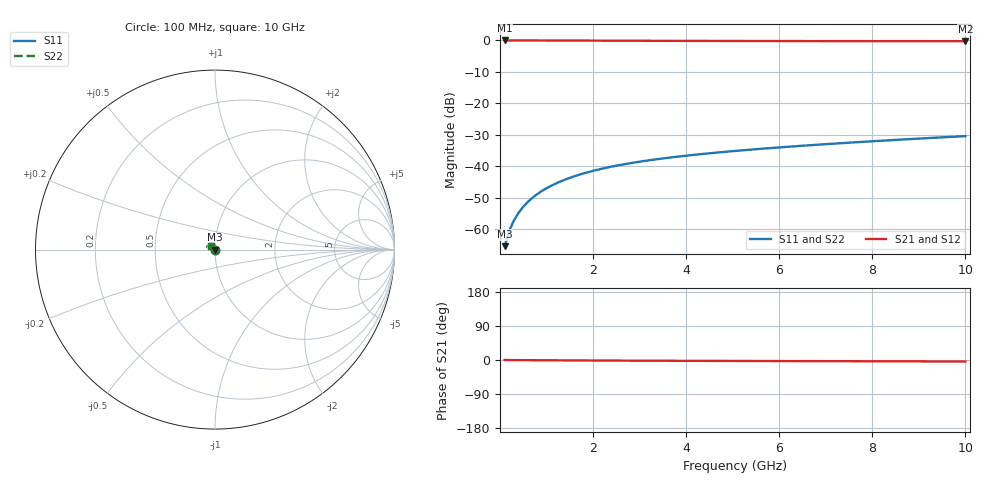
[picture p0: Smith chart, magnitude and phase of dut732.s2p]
! Touchstone file exported from HFSS 2024.1.0
!  File:  C:/UserFiles/LocalFiles/RDL_TSV_Batchsim/temp_TSV1_732_1779869418.aedt
!  Generated:  04:17:29 PM May 27, 2026
!  Design:  TSV1
!  Project:  temp_TSV1_732_1779869418
!  Setup:  Setup1
!  Solution:  Sweep
! Variables:
!  dtsv = 6.09um
!  hbump = 3um
!  htsv = 53.31um
!  lrdl = 252.1521522um
!  p = 40
!  p1 = 53.52um
!  t = 500um
!  trdl = 3um
!  wrdl = 24.89489489um
# GHz S MA R 50.000000
! Terminal data exported
! Port[1] = TSV22_T1
! Port[2] = TSV22_T2
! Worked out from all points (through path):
!   100 points, 100 MHz to 10 GHz, reference 50 ohm
!   highest |S21| = 0.00 dB at 100 MHz (marker M1); lowest = -0.2 dB at 10 GHz (marker M2)
!   lowest |S11| = -65.3 dB at 100 MHz (marker M3), VSWR 1.00, Z = 50 - j0.0464 ohm
!   |S11| at or under -10 dB: start of sweep to end of sweep
!   |S22| runs from -65.3 to -30.4 dB; largest |S21 - S12| = 8.2e-15
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0.1  0.000541 -58.9  0.9997 -0.1  0.9997 -0.1  0.000541 -58.9
! Gamma 0 0 0 0
! Port Impedance 50 0 50 0
0.2  0.0009495 -77.0  0.9996 -0.2  0.9996 -0.2  0.0009495 -77.0
0.3  0.001387 -85.6  0.9995 -0.2  0.9995 -0.2  0.001387 -85.6
0.4  0.001834 -91.3  0.9993 -0.3  0.9993 -0.3  0.001834 -91.3
0.5  0.002283 -95.7  0.9991 -0.4  0.9991 -0.4  0.002283 -95.7
0.6  0.002732 -99.4  0.9989 -0.5  0.9989 -0.5  0.002732 -99.4
0.7  0.003179 -102.7  0.9986 -0.5  0.9986 -0.5  0.003179 -102.7
0.8  0.003623 -105.8  0.9983 -0.6  0.9983 -0.6  0.003623 -105.8
0.9  0.004062 -108.7  0.998 -0.7  0.998 -0.7  0.004062 -108.7
1.1  0.004925 -114.2  0.9973 -0.8  0.9973 -0.8  0.004925 -114.2
1.4  0.006175 -121.8  0.996 -1.0  0.996 -1.0  0.006175 -121.8
1.6  0.006976 -126.5  0.9951 -1.1  0.9951 -1.1  0.006976 -126.5
1.8  0.00775 -131.1  0.9942 -1.3  0.9942 -1.3  0.00775 -131.1
2.1  0.008861 -137.6  0.9927 -1.4  0.9927 -1.4  0.008861 -137.6
2.5  0.01025 -145.7  0.9907 -1.6  0.9907 -1.6  0.01025 -145.7
2.9  0.01156 -153.1  0.9888 -1.8  0.9888 -1.8  0.01156 -153.1
3.4  0.01308 -161.5  0.9866 -2.0  0.9866 -2.0  0.01308 -161.5
4.2  0.01534 -173.3  0.9835 -2.2  0.9835 -2.2  0.01534 -173.3
5.1  0.01772 175.6  0.9808 -2.5  0.9808 -2.5  0.01772 175.6
6.7  0.02178 160.3  0.9774 -3.0  0.9774 -3.0  0.02178 160.3
8.4  0.02609 148.3  0.975 -3.5  0.975 -3.5  0.02609 148.3
10  0.03022 139.7  0.9734 -3.9  0.9734 -3.9  0.03022 139.7
